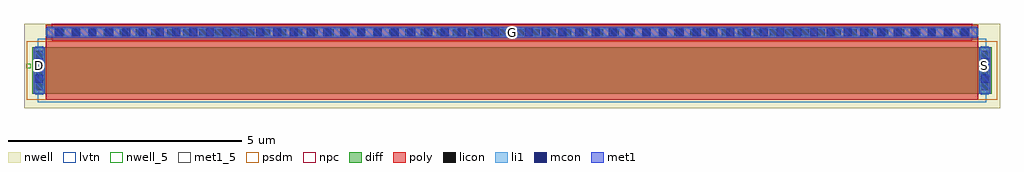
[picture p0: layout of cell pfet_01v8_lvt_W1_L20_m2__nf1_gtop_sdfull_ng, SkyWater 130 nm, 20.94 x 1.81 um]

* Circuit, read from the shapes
.subckt pfet_01v8_lvt_W1_L20_m2__nf1_gtop_sdfull_ng B D G S
XM1 S G D B sky130_fd_pr__pfet_01v8_lvt w=1 l=20
.ends

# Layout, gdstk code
import gdstk
lib = gdstk.Library(unit=1e-6, precision=1e-09)
def R(c, l, rs):  # rectangles x0, y0, x1, y1
    for r in rs: c.add(gdstk.rectangle(r[:2], r[2:], *l))
def A(c, l, x, y, w, h, nx, ny, dx, dy):  # array of equal rectangles
    R(c, l, [(x+i*dx, y+j*dy, x+i*dx+w, y+j*dy+h) for i in range(nx) for j in range(ny)])
nwell_5 = (64, 5)
nwell = (64, 20)
diff = (65, 20)
poly = (66, 20)
licon = (66, 44)
li1 = (67, 20)
mcon = (67, 44)
met1_5 = (68, 5)
met1 = (68, 20)
psdm = (94, 20)
npc = (95, 20)
lvtn = (125, 44)

sky130_fd_pr__pfet_01v8_ = lib.new_cell('sky130_fd_pr__pfet_01v8_lvt_4N9G9U')
R(sky130_fd_pr__pfet_01v8_, nwell, [(-10.47,-0.99,10.47,0.82)])
R(sky130_fd_pr__pfet_01v8_, diff, [(-10.29,-0.68,10.29,0.32)])
R(sky130_fd_pr__pfet_01v8_, poly, [(-10,-0.81,10,0.805)])
A(sky130_fd_pr__pfet_01v8_, licon, -10.23, -0.605, 0.17, 0.17, 1, 3, 0, 0.34)
A(sky130_fd_pr__pfet_01v8_, licon, 10.06, -0.605, 0.17, 0.17, 1, 3, 0, 0.34)
A(sky130_fd_pr__pfet_01v8_, licon, -9.775, 0.555, 0.17, 0.17, 58, 1, 0.34, 0)
R(sky130_fd_pr__pfet_01v8_, li1, [(-10.23,-0.7,-10.06,0.34), (10.06,-0.7,10.23,0.34), (-10,0.555,10,0.725)])
A(sky130_fd_pr__pfet_01v8_, mcon, -9.805, 0.555, 0.17, 0.17, 55, 1, 0.36, 0)
R(sky130_fd_pr__pfet_01v8_, mcon, [(-10.23,-0.445,-10.06,-0.275), (10.06,-0.445,10.23,-0.275), (-10.23,-0.085,-10.06,0.085), (10.06,-0.085,10.23,0.085)])
R(sky130_fd_pr__pfet_01v8_, met1, [(-10.26,-0.68,-10.03,0.32), (10.03,-0.68,10.26,0.32), (-9.98,0.525,9.98,0.755)])
R(sky130_fd_pr__pfet_01v8_, psdm, [(-10.415,-0.805,10.415,0.445)])
R(sky130_fd_pr__pfet_01v8_, npc, [(-9.875,0.455,9.875,0.825)])
R(sky130_fd_pr__pfet_01v8_, lvtn, [(-10.18,-0.86,10.18,0.5)])
sky130_fd_pr__pfet_01v8_.add(gdstk.Label('D', (-10.145,-0.18), layer=67, texttype=5))
sky130_fd_pr__pfet_01v8_.add(gdstk.Label('S', (10.145,-0.18), layer=67, texttype=5))
sky130_fd_pr__pfet_01v8_.add(gdstk.Label('G', (0,0.64), layer=67, texttype=5))

pfet_01v8_lvt_w1_l20_m2_ = lib.new_cell('pfet_01v8_lvt_W1_L20_m2__nf1_gtop_sdfull_ng')
R(pfet_01v8_lvt_w1_l20_m2_, nwell_5, [(0.05,0.855,0.15,0.955)])
R(pfet_01v8_lvt_w1_l20_m2_, nwell, [(0.05,0.855,0.15,0.955)])
R(pfet_01v8_lvt_w1_l20_m2_, met1_5, [(0.21,0.81,0.44,1.01), (20.5,0.81,20.73,1.01), (0.49,1.515,20.45,1.745)])
R(pfet_01v8_lvt_w1_l20_m2_, met1, [(0.21,0.81,0.44,1.01), (20.5,0.81,20.73,1.01), (0.49,1.515,20.45,1.745)])
pfet_01v8_lvt_w1_l20_m2_.add(gdstk.Reference(sky130_fd_pr__pfet_01v8_, (10.47,0.99)))
pfet_01v8_lvt_w1_l20_m2_.add(gdstk.Label('D', (0.325,0.91), layer=68, texttype=5))
pfet_01v8_lvt_w1_l20_m2_.add(gdstk.Label('S', (20.615,0.91), layer=68, texttype=5))
pfet_01v8_lvt_w1_l20_m2_.add(gdstk.Label('G', (10.47,1.63), layer=68, texttype=5))
pfet_01v8_lvt_w1_l20_m2_.add(gdstk.Label('B', (0.1,0.905), layer=64, texttype=5))

lib.write_gds('pfet_01v8_lvt_W1_L20_m2__nf1_gtop_sdfull_ng.gds')
